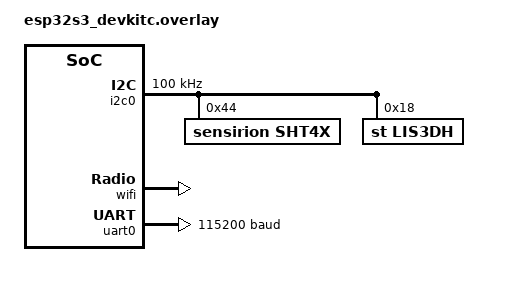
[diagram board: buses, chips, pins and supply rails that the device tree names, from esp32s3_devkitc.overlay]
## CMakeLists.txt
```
# SPDX-License-Identifier: Apache-2.0

cmake_minimum_required(VERSION 3.20.0)

# Find Zephyr package
find_package(Zephyr REQUIRED HINTS $ENV{ZEPHYR_BASE})

# Project configuration
project(kargo_iot_sensor)

# Source files
target_sources(app PRIVATE src/main.c)

# Include directories (if needed)
# target_include_directories(app PRIVATE include)
```

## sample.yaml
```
sample:
  name: Kargo IoT Sensor Application
  description: >
    Production-ready IoT sensor application for ESP32-S3 with MQTT publishing to AWS IoT Core,
    offline buffering, power management, and BLE diagnostics.

common:
  tags:
    - sensors
    - mqtt
    - aws-iot
    - power-management
    - ble
    - wifi
    - esp32

  integration_platforms:
    - esp32s3_devkitc

  harness: console
  harness_config:
    type: multi_line
    regex:
      - "Kargo IoT Sensor Application Starting"
      - "WiFi connected"
      - "MQTT connected"
      - "Reading published successfully"

tests:
  sample.kargo_iot_sensor.esp32s3:
    platform_allow: esp32s3_devkitc
    tags:
      - sensors
      - mqtt
      - wifi
    extra_args:
      - CONFIG_WIFI_SSID="TestNetwork"
      - CONFIG_WIFI_PASSWORD="TestPassword"
      - CONFIG_AWS_IOT_ENDPOINT="test.iot.amazonaws.com"
```

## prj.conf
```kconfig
# Kargo IoT Sensor Application Configuration
# Optimized for ESP32-S3 with low-power operation

# Application Info
CONFIG_MAIN_STACK_SIZE=4096
CONFIG_HEAP_MEM_POOL_SIZE=16384

# Logging
CONFIG_LOG=y
CONFIG_LOG_BACKEND_UART=y
CONFIG_LOG_DEFAULT_LEVEL=3
CONFIG_LOG_MODE_IMMEDIATE=n
CONFIG_LOG_MODE_DEFERRED=y

# Networking
CONFIG_NETWORKING=y
CONFIG_NET_NATIVE=y
CONFIG_NET_IPV4=y
CONFIG_NET_IPV6=n
CONFIG_NET_TCP=y
CONFIG_NET_SOCKETS=y
CONFIG_NET_SOCKETS_POSIX_NAMES=y

# Network Buffers
CONFIG_NET_BUF_RX_COUNT=16
CONFIG_NET_BUF_TX_COUNT=16
CONFIG_NET_PKT_RX_COUNT=16
CONFIG_NET_PKT_TX_COUNT=16
CONFIG_NET_BUF_DATA_SIZE=128
CONFIG_NET_MAX_CONTEXTS=8

# WiFi Configuration
CONFIG_WIFI=y
CONFIG_WIFI_ESP32=y
CONFIG_NET_L2_ETHERNET=y
CONFIG_NET_DHCPV4=y
CONFIG_ESP32_WIFI_STA_AUTO_DHCPV4=y

# WiFi Credentials (change these!)
CONFIG_WIFI_SSID="YourWiFiSSID"
CONFIG_WIFI_PASSWORD="YourWiFiPassword"

# TLS/DTLS
CONFIG_NET_SOCKETS_SOCKOPT_TLS=y
CONFIG_MBEDTLS=y
CONFIG_MBEDTLS_BUILTIN=y
CONFIG_MBEDTLS_ENABLE_HEAP=y
CONFIG_MBEDTLS_HEAP_SIZE=40960
CONFIG_MBEDTLS_SSL_MAX_CONTENT_LEN=4096
CONFIG_MBEDTLS_PEM_CERTIFICATE_FORMAT=y
CONFIG_MBEDTLS_KEY_EXCHANGE_RSA_ENABLED=y
CONFIG_MBEDTLS_CIPHER_MODE_CBC_ENABLED=y
CONFIG_MBEDTLS_MAC_MD5_ENABLED=y

# TLS Credentials
CONFIG_TLS_CREDENTIALS=y
CONFIG_TLS_MAX_CREDENTIALS_NUMBER=4

# MQTT
CONFIG_MQTT_LIB=y
CONFIG_MQTT_LIB_TLS=y
CONFIG_MQTT_KEEPALIVE=60
CONFIG_MQTT_CLEAN_SESSION=y

# AWS IoT Core Configuration (change these!)
CONFIG_AWS_IOT_ENDPOINT="your-endpoint.iot.region.amazonaws.com"
CONFIG_AWS_IOT_CLIENT_ID="kargo_sensor_001"
CONFIG_AWS_IOT_SEC_TAG=1

# Sensor Drivers
CONFIG_SENSOR=y
CONFIG_I2C=y

# SHT4x Temperature/Humidity Sensor
CONFIG_SHT4X=y

# LIS3DH Accelerometer
CONFIG_LIS3DH=y
CONFIG_LIS3DH_TRIGGER_NONE=y

# Flash and Storage
CONFIG_FLASH=y
CONFIG_FLASH_MAP=y
CONFIG_FLASH_PAGE_LAYOUT=y
CONFIG_NVS=y
CONFIG_NVS_LOG_LEVEL_WRN=y
CONFIG_MPU_ALLOW_FLASH_WRITE=y

# File System
CONFIG_FILE_SYSTEM=y

# Power Management
CONFIG_PM=y
CONFIG_PM_DEVICE=y
CONFIG_PM_POLICY_DEFAULT=y

# Enable low-power states
CONFIG_PM_STATE_SOFT_OFF=y

# System Power Management
CONFIG_SYS_PM_POLICY_RESIDENCY=y
CONFIG_SYS_PM_MIN_RESIDENCY_SLEEP_1=1000
CONFIG_SYS_PM_MIN_RESIDENCY_SLEEP_2=5000

# Bluetooth LE (for diagnostic mode)
CONFIG_BT=y
CONFIG_BT_PERIPHERAL=y
CONFIG_BT_DEVICE_NAME="Kargo Sensor"
CONFIG_BT_MAX_CONN=1
CONFIG_BT_MAX_PAIRED=1

# GATT
CONFIG_BT_GATT_SERVICE_CHANGED=y
CONFIG_BT_GATT_DYNAMIC_DB=y

# Random Number Generator
CONFIG_ENTROPY_GENERATOR=y
CONFIG_TEST_RANDOM_GENERATOR=n

# System
CONFIG_SYSTEM_WORKQUEUE_STACK_SIZE=2048
CONFIG_IDLE_STACK_SIZE=1024
CONFIG_ISR_STACK_SIZE=2048

# Performance Optimizations
CONFIG_NO_OPTIMIZATIONS=n
CONFIG_SPEED_OPTIMIZATIONS=y
CONFIG_SIZE_OPTIMIZATIONS=n

# Thread Configuration
CONFIG_MAIN_THREAD_PRIORITY=7
CONFIG_NUM_PREEMPT_PRIORITIES=15

# Timing
CONFIG_SYS_CLOCK_TICKS_PER_SEC=100

# Debug (disable for production)
CONFIG_DEBUG=n
CONFIG_DEBUG_OPTIMIZATIONS=n
CONFIG_ASSERT=y
CONFIG_ASSERT_LEVEL=2

# Console
CONFIG_CONSOLE=y
CONFIG_UART_CONSOLE=y
CONFIG_SERIAL=y

# Miscellaneous
CONFIG_PRINTK=y
CONFIG_EARLY_CONSOLE=y
CONFIG_REBOOT=y
```

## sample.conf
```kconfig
# Sample Configuration File
# This file demonstrates the key configuration parameters

# Build Configuration
# Uncomment to change build optimizations
# CONFIG_SIZE_OPTIMIZATIONS=y
# CONFIG_SPEED_OPTIMIZATIONS=y
# CONFIG_DEBUG_OPTIMIZATIONS=y

# WiFi Credentials - CHANGE THESE!
CONFIG_WIFI_SSID="YourWiFiSSID"
CONFIG_WIFI_PASSWORD="YourWiFiPassword"

# AWS IoT Core Settings - CHANGE THESE!
CONFIG_AWS_IOT_ENDPOINT="xxxxxxxxxxxxxx-ats.iot.us-east-1.amazonaws.com"
CONFIG_AWS_IOT_CLIENT_ID="kargo_sensor_001"
CONFIG_AWS_IOT_SEC_TAG=1

# Sensor Configuration
# Uncomment to adjust sensor behavior
# CONFIG_SHT4X_REPEATABILITY_HIGH=y
# CONFIG_LIS3DH_ODR_1=y  # 1 Hz output data rate

# Power Management
# Uncomment to enable specific power states
# CONFIG_PM_STATE_SOFT_OFF=y
# CONFIG_PM_DEVICE_RUNTIME=y

# Logging Level
# 0=OFF, 1=ERROR, 2=WARNING, 3=INFO, 4=DEBUG
CONFIG_LOG_DEFAULT_LEVEL=3

# BLE Diagnostic Mode
# Uncomment to disable BLE and save power
# CONFIG_BT=n

# Network Buffers (tune for memory optimization)
# CONFIG_NET_BUF_RX_COUNT=8
# CONFIG_NET_BUF_TX_COUNT=8
# CONFIG_NET_PKT_RX_COUNT=8
# CONFIG_NET_PKT_TX_COUNT=8

# MQTT Configuration
# CONFIG_MQTT_KEEPALIVE=60
# CONFIG_MQTT_CLEAN_SESSION=y

# TLS/SSL Configuration
# CONFIG_MBEDTLS_HEAP_SIZE=40960
# CONFIG_MBEDTLS_SSL_MAX_CONTENT_LEN=4096

# Thread Stack Sizes (adjust if stack overflow occurs)
# CONFIG_MAIN_STACK_SIZE=4096
# CONFIG_SYSTEM_WORKQUEUE_STACK_SIZE=2048

# Console/Shell (disable for production)
CONFIG_CONSOLE=y
CONFIG_UART_CONSOLE=y
```

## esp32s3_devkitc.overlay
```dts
/*
 * Device Tree Overlay for Kargo IoT Sensor
 * ESP32-S3 with SHT4x and LIS3DH sensors
 */

/ {
	aliases {
		i2c-0 = &i2c0;
	};
};

&i2c0 {
	status = "okay";
	clock-frequency = <I2C_BITRATE_STANDARD>;

	/* SHT4x Temperature & Humidity Sensor */
	sht4x: sht4x@44 {
		compatible = "sensirion,sht4x";
		reg = <0x44>;
		repeatability = <2>;  /* High repeatability */
	};

	/* LIS3DH 3-axis Accelerometer */
	lis3dh: lis3dh@18 {
		compatible = "st,lis3dh";
		reg = <0x18>;

		/* Optional: Configure interrupt pins */
		/* irq-gpios = <&gpio0 10 GPIO_ACTIVE_HIGH>; */
	};
};

/* NVS Storage Partition */
&flash0 {
	partitions {
		compatible = "fixed-partitions";
		#address-cells = <1>;
		#size-cells = <1>;

		/* Reserve 16KB for NVS storage */
		storage_partition: partition@3fc000 {
			label = "storage";
			reg = <0x003fc000 0x4000>;
		};
	};
};

/* WiFi configuration */
&wifi {
	status = "okay";
};

/* UART for console/logging */
&uart0 {
	status = "okay";
	current-speed = <115200>;
};
```

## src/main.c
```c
/*
 * Copyright (c) 2025 Kargo Chain
 * SPDX-License-Identifier: Apache-2.0
 */

#include <zephyr/kernel.h>
#include <zephyr/device.h>
#include <zephyr/drivers/sensor.h>
#include <zephyr/drivers/flash.h>
#include <zephyr/storage/flash_map.h>
#include <zephyr/fs/nvs.h>
#include <zephyr/net/mqtt.h>
#include <zephyr/net/socket.h>
#include <zephyr/net/wifi_mgmt.h>
#include <zephyr/net/net_if.h>
#include <zephyr/net/net_core.h>
#include <zephyr/net/net_context.h>
#include <zephyr/net/tls_credentials.h>
#include <zephyr/random/random.h>
#include <zephyr/pm/pm.h>
#include <zephyr/pm/device.h>
#include <zephyr/bluetooth/bluetooth.h>
#include <zephyr/bluetooth/gap.h>
#include <zephyr/bluetooth/gatt.h>
#include <zephyr/bluetooth/uuid.h>
#include <zephyr/logging/log.h>
#include <stdio.h>
#include <string.h>

LOG_MODULE_REGISTER(kargo_iot, LOG_LEVEL_INF);

/* Configuration */
#define SENSOR_READ_INTERVAL_MS     (15 * 60 * 1000)  /* 15 minutes */
#define MQTT_KEEPALIVE_SEC          60
#define MQTT_RECONNECT_DELAY_MS     5000
#define MQTT_PUBLISH_TIMEOUT_MS     5000
#define MAX_BUFFERED_READINGS       100
#define NVS_PARTITION_ID            FIXED_PARTITION_ID(storage_partition)
#define NVS_SECTOR_COUNT            4

/* WiFi Configuration - Update these with your credentials */
#define WIFI_SSID                   CONFIG_WIFI_SSID
#define WIFI_PSK                    CONFIG_WIFI_PASSWORD

/* AWS IoT Configuration - Update these with your settings */
#define AWS_IOT_ENDPOINT            CONFIG_AWS_IOT_ENDPOINT
#define AWS_IOT_PORT                8883
#define AWS_IOT_CLIENT_ID           CONFIG_AWS_IOT_CLIENT_ID
#define AWS_IOT_TOPIC               "kargo/sensors/" CONFIG_AWS_IOT_CLIENT_ID "/data"

/* BLE Service UUID for diagnostic mode */
#define BT_UUID_KARGO_SERVICE       BT_UUID_DECLARE_128(BT_UUID_128_ENCODE(0x12345678, 0x1234, 0x5678, 0x1234, 0x56789abcdef0))
#define BT_UUID_KARGO_DIAGNOSTICS   BT_UUID_DECLARE_128(BT_UUID_128_ENCODE(0x12345678, 0x1234, 0x5678, 0x1234, 0x56789abcdef1))

/* Sensor data structure */
struct sensor_reading {
	int64_t timestamp;
	double temperature;
	double humidity;
	double accel_x;
	double accel_y;
	double accel_z;
	uint8_t valid;
};

/* Global variables */
static struct nvs_fs nvs;
static struct mqtt_client mqtt_client;
static struct sockaddr_storage broker;
static struct zsock_pollfd fds[1];
static uint8_t rx_buffer[256];
static uint8_t tx_buffer[256];
static uint8_t payload_buf[512];
static bool mqtt_connected = false;
static bool wifi_connected = false;
static struct sensor_reading current_reading;
static uint16_t nvs_read_id = 1;
static uint16_t nvs_write_id = 1;
static uint16_t buffered_count = 0;

/* BLE diagnostic data */
static char diagnostic_data[256] = "System OK";
static bool ble_diagnostic_mode = false;

/* Thread stacks */
K_THREAD_STACK_DEFINE(sensor_stack, 2048);
K_THREAD_STACK_DEFINE(mqtt_stack, 4096);
K_THREAD_STACK_DEFINE(publish_stack, 2048);

static struct k_thread sensor_thread;
static struct k_thread mqtt_thread;
static struct k_thread publish_thread;

/* Semaphores and events */
K_SEM_DEFINE(mqtt_connected_sem, 0, 1);
K_SEM_DEFINE(reading_ready_sem, 0, 1);

/* Forward declarations */
static void sensor_task(void *p1, void *p2, void *p3);
static void mqtt_task(void *p1, void *p2, void *p3);
static void publish_task(void *p1, void *p2, void *p3);
static int init_sensors(void);
static int read_sensors(struct sensor_reading *reading);
static int init_storage(void);
static int buffer_reading(struct sensor_reading *reading);
static int get_buffered_reading(struct sensor_reading *reading);
static int init_wifi(void);
static int init_mqtt(void);
static int publish_reading(struct sensor_reading *reading);
static void enter_deep_sleep(void);
static int init_ble_diagnostic(void);

/* BLE GATT Characteristics */
static ssize_t read_diagnostic(struct bt_conn *conn, const struct bt_gatt_attr *attr,
                                void *buf, uint16_t len, uint16_t offset)
{
	const char *value = diagnostic_data;
	return bt_gatt_attr_read(conn, attr, buf, len, offset, value, strlen(value));
}

static ssize_t write_diagnostic(struct bt_conn *conn, const struct bt_gatt_attr *attr,
                                 const void *buf, uint16_t len, uint16_t offset, uint8_t flags)
{
	if (offset + len > sizeof(diagnostic_data)) {
		return BT_GATT_ERR(BT_ATT_ERR_INVALID_OFFSET);
	}

	memcpy(diagnostic_data + offset, buf, len);
	diagnostic_data[offset + len] = '\0';

	LOG_INF("Diagnostic command received: %s", diagnostic_data);

	return len;
}

BT_GATT_SERVICE_DEFINE(kargo_svc,
	BT_GATT_PRIMARY_SERVICE(BT_UUID_KARGO_SERVICE),
	BT_GATT_CHARACTERISTIC(BT_UUID_KARGO_DIAGNOSTICS,
			       BT_GATT_CHRC_READ | BT_GATT_CHRC_WRITE,
			       BT_GATT_PERM_READ | BT_GATT_PERM_WRITE,
			       read_diagnostic, write_diagnostic, diagnostic_data),
);

static const struct bt_data ad[] = {
	BT_DATA_BYTES(BT_DATA_FLAGS, (BT_LE_AD_GENERAL | BT_LE_AD_NO_BREDR)),
	BT_DATA_BYTES(BT_DATA_UUID128_ALL, BT_UUID_128_ENCODE(0x12345678, 0x1234, 0x5678, 0x1234, 0x56789abcdef0)),
};

/* WiFi event handler */
static struct net_mgmt_event_callback wifi_cb;

static void wifi_mgmt_event_handler(struct net_mgmt_event_callback *cb,
				     uint32_t mgmt_event, struct net_if *iface)
{
	switch (mgmt_event) {
	case NET_EVENT_WIFI_CONNECT_RESULT:
		LOG_INF("WiFi connected");
		wifi_connected = true;
		break;
	case NET_EVENT_WIFI_DISCONNECT_RESULT:
		LOG_INF("WiFi disconnected");
		wifi_connected = false;
		mqtt_connected = false;
		break;
	default:
		break;
	}
}

/* MQTT event handler */
static void mqtt_evt_handler(struct mqtt_client *const client,
			      const struct mqtt_evt *evt)
{
	switch (evt->type) {
	case MQTT_EVT_CONNACK:
		if (evt->result == 0) {
			LOG_INF("MQTT connected");
			mqtt_connected = true;
			k_sem_give(&mqtt_connected_sem);
		} else {
			LOG_ERR("MQTT connection failed: %d", evt->result);
			mqtt_connected = false;
		}
		break;

	case MQTT_EVT_DISCONNECT:
		LOG_INF("MQTT disconnected: %d", evt->result);
		mqtt_connected = false;
		break;

	case MQTT_EVT_PUBACK:
		LOG_DBG("MQTT PUBACK packet id: %u", evt->param.puback.message_id);
		break;

	default:
		break;
	}
}

/* Initialize NVS storage */
static int init_storage(void)
{
	int err;
	struct flash_pages_info info;

	nvs.flash_device = FIXED_PARTITION_DEVICE(storage_partition);
	if (!device_is_ready(nvs.flash_device)) {
		LOG_ERR("Flash device not ready");
		return -ENODEV;
	}

	nvs.offset = FIXED_PARTITION_OFFSET(storage_partition);
	err = flash_get_page_info_by_offs(nvs.flash_device, nvs.offset, &info);
	if (err) {
		LOG_ERR("Unable to get page info: %d", err);
		return err;
	}

	nvs.sector_size = info.size;
	nvs.sector_count = NVS_SECTOR_COUNT;

	err = nvs_mount(&nvs);
	if (err) {
		LOG_ERR("NVS mount failed: %d", err);
		return err;
	}

	LOG_INF("NVS storage initialized");

	/* Read buffered count */
	err = nvs_read(&nvs, 0, &buffered_count, sizeof(buffered_count));
	if (err < 0) {
		buffered_count = 0;
		nvs_read_id = 1;
		nvs_write_id = 1;
	} else {
		nvs_read_id = 1;
		nvs_write_id = buffered_count + 1;
	}

	LOG_INF("Buffered readings: %d", buffered_count);

	return 0;
}

/* Buffer a sensor reading to flash */
static int buffer_reading(struct sensor_reading *reading)
{
	int err;

	if (buffered_count >= MAX_BUFFERED_READINGS) {
		LOG_WRN("Buffer full, overwriting oldest reading");
		nvs_read_id++;
		if (nvs_read_id > MAX_BUFFERED_READINGS) {
			nvs_read_id = 1;
		}
	} else {
		buffered_count++;
	}

	err = nvs_write(&nvs, nvs_write_id, reading, sizeof(*reading));
	if (err < 0) {
		LOG_ERR("NVS write failed: %d", err);
		return err;
	}

	nvs_write_id++;
	if (nvs_write_id > MAX_BUFFERED_READINGS) {
		nvs_write_id = 1;
	}

	/* Update buffered count */
	nvs_write(&nvs, 0, &buffered_count, sizeof(buffered_count));

	LOG_DBG("Reading buffered, total: %d", buffered_count);

	return 0;
}

/* Get a buffered reading from flash */
static int get_buffered_reading(struct sensor_reading *reading)
{
	int err;

	if (buffered_count == 0) {
		return -ENODATA;
	}

	err = nvs_read(&nvs, nvs_read_id, reading, sizeof(*reading));
	if (err < 0) {
		LOG_ERR("NVS read failed: %d", err);
		return err;
	}

	nvs_read_id++;
	if (nvs_read_id > MAX_BUFFERED_READINGS) {
		nvs_read_id = 1;
	}

	buffered_count--;
	nvs_write(&nvs, 0, &buffered_count, sizeof(buffered_count));

	LOG_DBG("Reading retrieved, remaining: %d", buffered_count);

	return 0;
}

/* Initialize WiFi */
static int init_wifi(void)
{
	struct net_if *iface = net_if_get_default();
	struct wifi_connect_req_params wifi_params = { 0 };

	if (!iface) {
		LOG_ERR("WiFi interface not available");
		return -ENODEV;
	}

	net_mgmt_init_event_callback(&wifi_cb, wifi_mgmt_event_handler,
				     NET_EVENT_WIFI_CONNECT_RESULT |
				     NET_EVENT_WIFI_DISCONNECT_RESULT);
	net_mgmt_add_event_callback(&wifi_cb);

	wifi_params.ssid = WIFI_SSID;
	wifi_params.ssid_length = strlen(WIFI_SSID);
	wifi_params.psk = WIFI_PSK;
	wifi_params.psk_length = strlen(WIFI_PSK);
	wifi_params.channel = WIFI_CHANNEL_ANY;
	wifi_params.security = WIFI_SECURITY_TYPE_PSK;
	wifi_params.band = WIFI_FREQ_BAND_2_4_GHZ;
	wifi_params.mfp = WIFI_MFP_OPTIONAL;

	LOG_INF("Connecting to WiFi SSID: %s", WIFI_SSID);

	if (net_mgmt(NET_REQUEST_WIFI_CONNECT, iface, &wifi_params,
		     sizeof(struct wifi_connect_req_params))) {
		LOG_ERR("WiFi connection request failed");
		return -EAGAIN;
	}

	/* Wait for connection */
	for (int i = 0; i < 20; i++) {
		if (wifi_connected) {
			break;
		}
		k_sleep(K_MSEC(500));
	}

	if (!wifi_connected) {
		LOG_ERR("WiFi connection timeout");
		return -ETIMEDOUT;
	}

	LOG_INF("WiFi connected successfully");
	return 0;
}

/* Initialize MQTT client */
static int init_mqtt(void)
{
	int err;
	struct sockaddr_in *broker4 = (struct sockaddr_in *)&broker;

	mqtt_client_init(&mqtt_client);

	/* Broker address */
	broker4->sin_family = AF_INET;
	broker4->sin_port = htons(AWS_IOT_PORT);
	zsock_inet_pton(AF_INET, AWS_IOT_ENDPOINT, &broker4->sin_addr);

	/* MQTT client configuration */
	mqtt_client.broker = &broker;
	mqtt_client.evt_cb = mqtt_evt_handler;
	mqtt_client.client_id.utf8 = (uint8_t *)AWS_IOT_CLIENT_ID;
	mqtt_client.client_id.size = strlen(AWS_IOT_CLIENT_ID);
	mqtt_client.password = NULL;
	mqtt_client.user_name = NULL;
	mqtt_client.protocol_version = MQTT_VERSION_3_1_1;
	mqtt_client.keepalive = MQTT_KEEPALIVE_SEC;
	mqtt_client.clean_session = 1;

	/* MQTT buffers */
	mqtt_client.rx_buf = rx_buffer;
	mqtt_client.rx_buf_size = sizeof(rx_buffer);
	mqtt_client.tx_buf = tx_buffer;
	mqtt_client.tx_buf_size = sizeof(tx_buffer);

	/* TLS configuration */
	struct mqtt_sec_config *tls_config = &mqtt_client.transport.tls.config;
	tls_config->peer_verify = TLS_PEER_VERIFY_REQUIRED;
	tls_config->cipher_list = NULL;
	tls_config->sec_tag_list = (sec_tag_t[]){CONFIG_AWS_IOT_SEC_TAG};
	tls_config->sec_tag_count = 1;
	tls_config->hostname = AWS_IOT_ENDPOINT;

	mqtt_client.transport.type = MQTT_TRANSPORT_SECURE;

	LOG_INF("MQTT client initialized");

	return 0;
}

/* Publish sensor reading via MQTT */
static int publish_reading(struct sensor_reading *reading)
{
	struct mqtt_publish_param param;
	char timestamp_str[32];

	if (!mqtt_connected) {
		LOG_WRN("MQTT not connected, buffering reading");
		return buffer_reading(reading);
	}

	/* Format JSON payload */
	snprintf(timestamp_str, sizeof(timestamp_str), "%lld", reading->timestamp);
	snprintf(payload_buf, sizeof(payload_buf),
		 "{\"timestamp\":%s,\"temperature\":%.2f,\"humidity\":%.2f,"
		 "\"accel\":{\"x\":%.2f,\"y\":%.2f,\"z\":%.2f}}",
		 timestamp_str, reading->temperature, reading->humidity,
		 reading->accel_x, reading->accel_y, reading->accel_z);

	param.message.topic.qos = MQTT_QOS_1_AT_LEAST_ONCE;
	param.message.topic.topic.utf8 = (uint8_t *)AWS_IOT_TOPIC;
	param.message.topic.topic.size = strlen(AWS_IOT_TOPIC);
	param.message.payload.data = payload_buf;
	param.message.payload.len = strlen(payload_buf);
	param.message_id = sys_rand32_get();
	param.dup_flag = 0;
	param.retain_flag = 0;

	LOG_INF("Publishing: %s", payload_buf);

	int err = mqtt_publish(&mqtt_client, &param);
	if (err) {
		LOG_ERR("MQTT publish failed: %d, buffering", err);
		return buffer_reading(reading);
	}

	LOG_INF("Reading published successfully");
	return 0;
}

/* Initialize sensors */
static int init_sensors(void)
{
	/* SHT4x and LIS3DH will be initialized by Zephyr device tree */
	LOG_INF("Sensors initialized");
	return 0;
}

/* Read sensor data */
static int read_sensors(struct sensor_reading *reading)
{
	const struct device *sht4x = DEVICE_DT_GET_ANY(sensirion_sht4x);
	const struct device *lis3dh = DEVICE_DT_GET_ANY(st_lis3dh);
	struct sensor_value temp, humidity, accel[3];
	int err;

	reading->timestamp = k_uptime_get();
	reading->valid = 1;

	/* Read temperature and humidity from SHT4x */
	if (device_is_ready(sht4x)) {
		err = sensor_sample_fetch(sht4x);
		if (err == 0) {
			sensor_channel_get(sht4x, SENSOR_CHAN_AMBIENT_TEMP, &temp);
			sensor_channel_get(sht4x, SENSOR_CHAN_HUMIDITY, &humidity);
			reading->temperature = sensor_value_to_double(&temp);
			reading->humidity = sensor_value_to_double(&humidity);
			LOG_INF("SHT4x - Temp: %.2f°C, Humidity: %.2f%%",
				reading->temperature, reading->humidity);
		} else {
			LOG_ERR("SHT4x fetch failed: %d", err);
			reading->temperature = 0.0;
			reading->humidity = 0.0;
		}
	} else {
		LOG_WRN("SHT4x not ready");
		reading->temperature = 25.0;  /* Default values */
		reading->humidity = 50.0;
	}

	/* Read accelerometer from LIS3DH */
	if (device_is_ready(lis3dh)) {
		err = sensor_sample_fetch(lis3dh);
		if (err == 0) {
			sensor_channel_get(lis3dh, SENSOR_CHAN_ACCEL_XYZ, accel);
			reading->accel_x = sensor_value_to_double(&accel[0]);
			reading->accel_y = sensor_value_to_double(&accel[1]);
			reading->accel_z = sensor_value_to_double(&accel[2]);
			LOG_INF("LIS3DH - X: %.2f, Y: %.2f, Z: %.2f m/s²",
				reading->accel_x, reading->accel_y, reading->accel_z);
		} else {
			LOG_ERR("LIS3DH fetch failed: %d", err);
			reading->accel_x = 0.0;
			reading->accel_y = 0.0;
			reading->accel_z = 0.0;
		}
	} else {
		LOG_WRN("LIS3DH not ready");
		reading->accel_x = 0.0;
		reading->accel_y = 0.0;
		reading->accel_z = 9.8;  /* Default gravity */
	}

	return 0;
}

/* Sensor reading task */
static void sensor_task(void *p1, void *p2, void *p3)
{
	ARG_UNUSED(p1);
	ARG_UNUSED(p2);
	ARG_UNUSED(p3);

	LOG_INF("Sensor task started");

	while (1) {
		/* Read sensors */
		read_sensors(&current_reading);

		/* Signal that reading is ready */
		k_sem_give(&reading_ready_sem);

		/* Wait for next reading interval */
		k_sleep(K_MSEC(SENSOR_READ_INTERVAL_MS));
	}
}

/* MQTT connection task */
static void mqtt_task(void *p1, void *p2, void *p3)
{
	ARG_UNUSED(p1);
	ARG_UNUSED(p2);
	ARG_UNUSED(p3);

	int err;

	LOG_INF("MQTT task started");

	while (1) {
		if (!wifi_connected) {
			LOG_INF("Waiting for WiFi...");
			k_sleep(K_MSEC(1000));
			continue;
		}

		if (!mqtt_connected) {
			LOG_INF("Connecting to MQTT broker...");
			err = mqtt_connect(&mqtt_client);
			if (err) {
				LOG_ERR("MQTT connect failed: %d", err);
				k_sleep(K_MSEC(MQTT_RECONNECT_DELAY_MS));
				continue;
			}

			fds[0].fd = mqtt_client.transport.tls.sock;
			fds[0].events = ZSOCK_POLLIN;

			/* Wait for CONNACK */
			k_sem_take(&mqtt_connected_sem, K_SECONDS(10));
		}

		/* Process MQTT events */
		if (mqtt_connected) {
			err = zsock_poll(fds, 1, mqtt_keepalive_time_left(&mqtt_client));
			if (err < 0) {
				LOG_ERR("Poll error: %d", errno);
				mqtt_disconnect(&mqtt_client);
				mqtt_connected = false;
				continue;
			}

			err = mqtt_live(&mqtt_client);
			if (err != 0 && err != -EAGAIN) {
				LOG_ERR("MQTT live failed: %d", err);
				mqtt_disconnect(&mqtt_client);
				mqtt_connected = false;
			}

			if (fds[0].revents & ZSOCK_POLLIN) {
				err = mqtt_input(&mqtt_client);
				if (err != 0) {
					LOG_ERR("MQTT input error: %d", err);
					mqtt_disconnect(&mqtt_client);
					mqtt_connected = false;
				}
			}
		}

		k_sleep(K_MSEC(100));
	}
}

/* Publish task - handles publishing sensor readings and buffered data */
static void publish_task(void *p1, void *p2, void *p3)
{
	ARG_UNUSED(p1);
	ARG_UNUSED(p2);
	ARG_UNUSED(p3);

	struct sensor_reading buffered;

	LOG_INF("Publish task started");

	while (1) {
		/* Wait for new reading */
		k_sem_take(&reading_ready_sem, K_FOREVER);

		/* Try to publish buffered readings first */
		while (buffered_count > 0 && mqtt_connected) {
			if (get_buffered_reading(&buffered) == 0) {
				publish_reading(&buffered);
				k_sleep(K_MSEC(100));
			} else {
				break;
			}
		}

		/* Publish current reading */
		publish_reading(&current_reading);
	}
}

/* Initialize BLE diagnostic mode */
static int init_ble_diagnostic(void)
{
	int err;

	err = bt_enable(NULL);
	if (err) {
		LOG_ERR("Bluetooth init failed (err %d)", err);
		return err;
	}

	LOG_INF("Bluetooth initialized");

	err = bt_le_adv_start(BT_LE_ADV_CONN_NAME, ad, ARRAY_SIZE(ad), NULL, 0);
	if (err) {
		LOG_ERR("Advertising failed to start (err %d)", err);
		return err;
	}

	LOG_INF("BLE diagnostic mode enabled");
	ble_diagnostic_mode = true;

	return 0;
}

/* Enter deep sleep mode */
static void enter_deep_sleep(void)
{
	LOG_INF("Entering deep sleep mode");

	/* Configure wake-up timer */
	/* Note: Actual implementation depends on ESP32-S3 RTC timer configuration */

	/* Put system into deep sleep */
	pm_state_force(0u, &(struct pm_state_info){PM_STATE_SOFT_OFF, 0, 0});
}

/* Main function */
int main(void)
{
	int err;

	LOG_INF("Kargo IoT Sensor Application Starting...");
	LOG_INF("Build time: " __DATE__ " " __TIME__);

	/* Initialize storage */
	err = init_storage();
	if (err) {
		LOG_ERR("Storage initialization failed: %d", err);
	}

	/* Initialize sensors */
	err = init_sensors();
	if (err) {
		LOG_ERR("Sensor initialization failed: %d", err);
	}

	/* Initialize WiFi */
	err = init_wifi();
	if (err) {
		LOG_ERR("WiFi initialization failed: %d", err);
	}

	/* Initialize MQTT */
	err = init_mqtt();
	if (err) {
		LOG_ERR("MQTT initialization failed: %d", err);
	}

	/* Initialize BLE diagnostic mode (optional) */
	if (IS_ENABLED(CONFIG_BT)) {
		init_ble_diagnostic();
	}

	/* Create threads */
	k_thread_create(&sensor_thread, sensor_stack,
			K_THREAD_STACK_SIZEOF(sensor_stack),
			sensor_task, NULL, NULL, NULL,
			7, 0, K_NO_WAIT);
	k_thread_name_set(&sensor_thread, "sensor");

	k_thread_create(&mqtt_thread, mqtt_stack,
			K_THREAD_STACK_SIZEOF(mqtt_stack),
			mqtt_task, NULL, NULL, NULL,
			7, 0, K_NO_WAIT);
	k_thread_name_set(&mqtt_thread, "mqtt");

	k_thread_create(&publish_thread, publish_stack,
			K_THREAD_STACK_SIZEOF(publish_stack),
			publish_task, NULL, NULL, NULL,
			7, 0, K_NO_WAIT);
	k_thread_name_set(&publish_thread, "publish");

	LOG_INF("All tasks started, system running");

	/* Main loop - can be used for system monitoring */
	while (1) {
		/* Update diagnostic info */
		snprintf(diagnostic_data, sizeof(diagnostic_data),
			 "WiFi:%s MQTT:%s Buffered:%d Uptime:%lld",
			 wifi_connected ? "ON" : "OFF",
			 mqtt_connected ? "ON" : "OFF",
			 buffered_count,
			 k_uptime_get() / 1000);

		k_sleep(K_SECONDS(30));
	}

	return 0;
}
```
